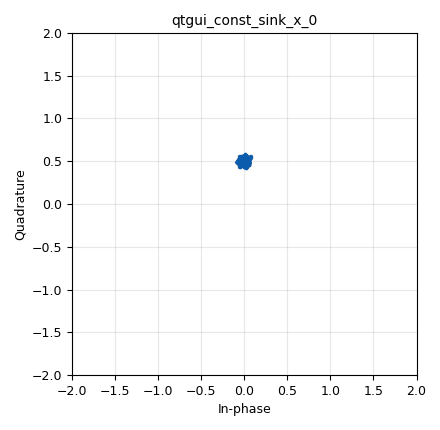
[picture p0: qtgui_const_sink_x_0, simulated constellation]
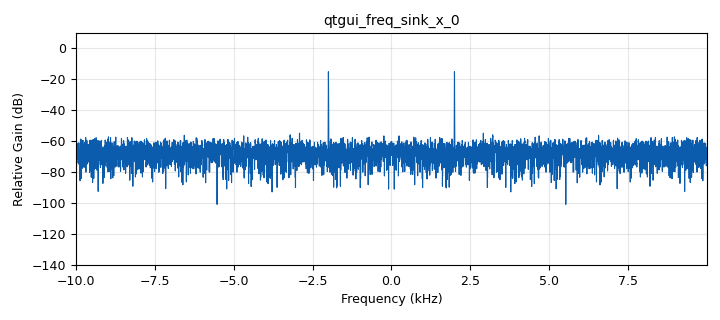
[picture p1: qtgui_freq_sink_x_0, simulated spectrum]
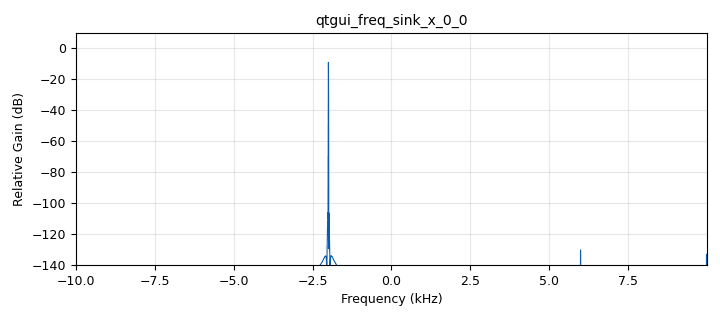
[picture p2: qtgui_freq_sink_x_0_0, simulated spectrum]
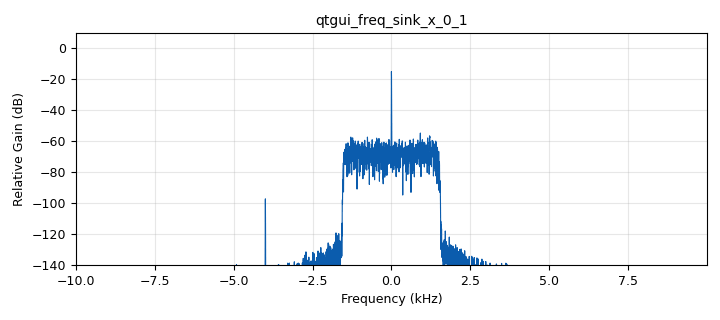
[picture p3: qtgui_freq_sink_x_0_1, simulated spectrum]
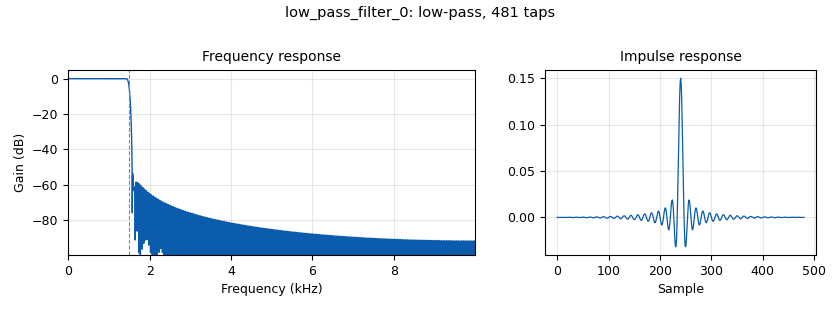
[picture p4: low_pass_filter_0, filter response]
options:
  parameters:
    generate_options: qt_gui
    id: rtl_receive
    output_language: python
    title: Not titled yet
  states: {}

blocks:
- name: Fc
  id: variable_qtgui_range
  parameters:
    label: Frequency (Hz)
    orient: Qt.Horizontal
    start: '0'
    step: '1'
    stop: samp_rate/2
    value: '2000'
  states: {}
- name: Flo
  id: variable_qtgui_range
  parameters:
    label: Frequency (Hz)
    orient: Qt.Horizontal
    start: '-samp_rate/2'
    step: '1'
    stop: samp_rate/2
    value: '-2000'
  states: {}
- name: noise_amp
  id: variable_qtgui_range
  parameters:
    orient: Qt.Horizontal
    start: '0'
    step: '0.001'
    stop: '0.5'
    value: '0.1'
  states: {}
- name: samp_rate
  id: variable
  parameters:
    value: 20e3
  states: {}
- name: analog_noise_source_x_0
  id: analog_noise_source_x
  parameters:
    amp: noise_amp
    noise_type: analog.GR_GAUSSIAN
    seed: '0'
    type: float
  states: {}
- name: analog_sig_source_x_0
  id: analog_sig_source_x
  parameters:
    amp: '1'
    freq: Fc
    offset: '0'
    phase: '0'
    samp_rate: samp_rate
    type: float
    waveform: analog.GR_COS_WAVE
  states: {}
- name: analog_sig_source_x_0_0
  id: analog_sig_source_x
  parameters:
    amp: '1'
    freq: Flo
    offset: '0'
    phase: 3.14/2
    samp_rate: samp_rate
    type: complex
    waveform: analog.GR_COS_WAVE
  states: {}
- name: blocks_add_xx_0
  id: blocks_add_xx
  parameters:
    type: float
  states: {}
- name: blocks_float_to_complex_0
  id: blocks_float_to_complex
  parameters: {}
  states: {}
- name: blocks_multiply_xx_0
  id: blocks_multiply_xx
  parameters:
    type: complex
  states: {}
- name: low_pass_filter_0
  id: low_pass_filter
  parameters:
    cutoff_freq: '1500'
    decim: '1'
    gain: '1'
    samp_rate: samp_rate
    type: fir_filter_ccf
    width: '100'
    win: firdes.WIN_HAMMING
  states: {}
- name: qtgui_const_sink_x_0
  id: qtgui_const_sink_x
  parameters:
    size: '1024'
    type: complex
  states: {}
- name: qtgui_freq_sink_x_0
  id: qtgui_freq_sink_x
  parameters:
    bw: samp_rate
    fc: '0'
    fftsize: '8192'
    type: complex
    wintype: firdes.WIN_BLACKMAN_hARRIS
  states: {}
- name: qtgui_freq_sink_x_0_0
  id: qtgui_freq_sink_x
  parameters:
    bw: samp_rate
    fc: '0'
    fftsize: '8192'
    type: complex
    wintype: firdes.WIN_BLACKMAN_hARRIS
  states: {}
- name: qtgui_freq_sink_x_0_1
  id: qtgui_freq_sink_x
  parameters:
    bw: samp_rate
    fc: '0'
    fftsize: '8192'
    type: complex
    wintype: firdes.WIN_BLACKMAN_hARRIS
  states: {}

connections:
- [analog_noise_source_x_0, '0', blocks_add_xx_0, '1']
- [analog_sig_source_x_0, '0', blocks_add_xx_0, '0']
- [analog_sig_source_x_0_0, '0', blocks_multiply_xx_0, '1']
- [analog_sig_source_x_0_0, '0', qtgui_freq_sink_x_0_0, '0']
- [blocks_add_xx_0, '0', blocks_float_to_complex_0, '0']
- [blocks_float_to_complex_0, '0', blocks_multiply_xx_0, '0']
- [blocks_float_to_complex_0, '0', qtgui_freq_sink_x_0, '0']
- [blocks_multiply_xx_0, '0', low_pass_filter_0, '0']
- [low_pass_filter_0, '0', qtgui_const_sink_x_0, '0']
- [low_pass_filter_0, '0', qtgui_freq_sink_x_0_1, '0']

metadata:
  file_format: 1
